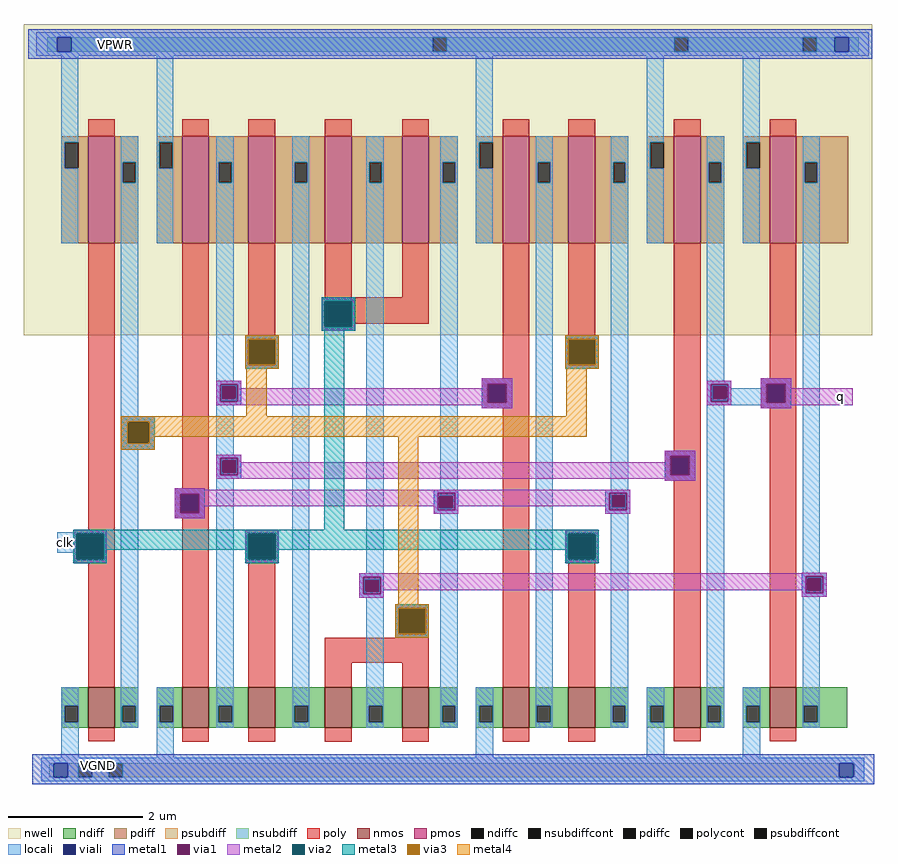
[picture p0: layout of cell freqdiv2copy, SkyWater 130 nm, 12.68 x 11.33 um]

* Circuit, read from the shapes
.subckt freqdiv2copy VGND clk q VPWR
XM1 n1 clk VGND VGND sky130_fd_pr__nfet_01v8 w=0.6 l=0.4
XM2 n2 n3 VGND VGND sky130_fd_pr__nfet_01v8 w=0.6 l=0.4
XM3 n4 clk n2 VGND sky130_fd_pr__nfet_01v8 w=0.6 l=0.4
XM4 n5 n1 n4 VGND sky130_fd_pr__nfet_01v8 w=0.6 l=0.4
XM5 n3 n1 n5 VGND sky130_fd_pr__nfet_01v8 w=0.6 l=0.4
XM6 n6 n2 VGND VGND sky130_fd_pr__nfet_01v8 w=0.6 l=0.4
XM7 n3 clk n6 VGND sky130_fd_pr__nfet_01v8 w=0.6 l=0.4
XM8 q n2 VGND VGND sky130_fd_pr__nfet_01v8 w=0.6 l=0.4
XM9 n5 q VGND VGND sky130_fd_pr__nfet_01v8 w=0.6 l=0.4
XM10 n1 clk VPWR VPWR sky130_fd_pr__pfet_01v8 w=1.6 l=0.4
XM11 n2 n3 VPWR VPWR sky130_fd_pr__pfet_01v8 w=1.6 l=0.4
XM12 n4 n1 n2 VPWR sky130_fd_pr__pfet_01v8 w=1.6 l=0.4
XM13 n5 clk n4 VPWR sky130_fd_pr__pfet_01v8 w=1.6 l=0.4
XM14 n3 clk n5 VPWR sky130_fd_pr__pfet_01v8 w=1.6 l=0.4
XM15 n6 n2 VPWR VPWR sky130_fd_pr__pfet_01v8 w=1.6 l=0.4
XM16 n3 n1 n6 VPWR sky130_fd_pr__pfet_01v8 w=1.6 l=0.4
XM17 q n2 VPWR VPWR sky130_fd_pr__pfet_01v8 w=1.6 l=0.4
XM18 n5 q VPWR VPWR sky130_fd_pr__pfet_01v8 w=1.6 l=0.4
.ends

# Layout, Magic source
magic
tech sky130A
<< nwell >>
rect -75 -85 1190 379
<< nmos >>
rect 21 -670 61 -610
rect 161 -670 201 -610
rect 260 -670 300 -610
rect 374 -670 414 -610
rect 489 -670 529 -610
rect 639 -670 679 -610
rect 737 -670 777 -610
rect 894 -670 934 -610
rect 1037 -670 1077 -610
<< pmos >>
rect 21 52 61 212
rect 161 52 201 212
rect 260 52 300 212
rect 374 52 414 212
rect 489 52 529 212
rect 639 52 679 212
rect 737 52 777 212
rect 894 52 934 212
rect 1037 52 1077 212
<< ndiff >>
rect -19 -637 21 -610
rect -19 -662 -14 -637
rect 6 -662 21 -637
rect -19 -670 21 -662
rect 61 -637 96 -610
rect 61 -662 72 -637
rect 92 -662 96 -637
rect 61 -670 96 -662
rect 123 -637 161 -610
rect 123 -662 128 -637
rect 148 -662 161 -637
rect 123 -670 161 -662
rect 201 -637 260 -610
rect 201 -662 215 -637
rect 236 -662 260 -637
rect 201 -670 260 -662
rect 300 -637 374 -610
rect 300 -662 328 -637
rect 349 -662 374 -637
rect 300 -670 374 -662
rect 414 -637 489 -610
rect 414 -662 439 -637
rect 460 -662 489 -637
rect 414 -670 489 -662
rect 529 -637 572 -610
rect 529 -662 549 -637
rect 568 -662 572 -637
rect 529 -670 572 -662
rect 599 -637 639 -610
rect 599 -662 604 -637
rect 624 -662 639 -637
rect 599 -670 639 -662
rect 679 -637 737 -610
rect 679 -662 690 -637
rect 711 -662 737 -637
rect 679 -670 737 -662
rect 777 -637 826 -610
rect 777 -662 803 -637
rect 822 -662 826 -637
rect 777 -670 826 -662
rect 854 -637 894 -610
rect 854 -662 859 -637
rect 879 -662 894 -637
rect 854 -670 894 -662
rect 934 -637 969 -610
rect 934 -662 945 -637
rect 964 -662 969 -637
rect 934 -670 969 -662
rect 997 -637 1037 -610
rect 997 -662 1002 -637
rect 1022 -662 1037 -637
rect 997 -670 1037 -662
rect 1077 -637 1153 -610
rect 1077 -662 1088 -637
rect 1109 -662 1153 -637
rect 1077 -670 1153 -662
<< pdiff >>
rect -19 203 21 212
rect -19 164 -14 203
rect 6 164 21 203
rect -19 52 21 164
rect 61 173 96 212
rect 61 142 73 173
rect 92 142 96 173
rect 61 52 96 142
rect 123 203 161 212
rect 123 164 127 203
rect 147 164 161 203
rect 123 52 161 164
rect 201 173 260 212
rect 201 142 216 173
rect 235 142 260 173
rect 201 52 260 142
rect 300 173 374 212
rect 300 142 329 173
rect 348 142 374 173
rect 300 52 374 142
rect 414 173 489 212
rect 414 142 440 173
rect 459 142 489 173
rect 414 52 489 142
rect 529 173 572 212
rect 529 142 550 173
rect 568 142 572 173
rect 529 52 572 142
rect 599 203 639 212
rect 599 164 604 203
rect 624 164 639 203
rect 599 52 639 164
rect 679 173 737 212
rect 679 142 691 173
rect 710 142 737 173
rect 679 52 737 142
rect 777 173 826 212
rect 777 142 804 173
rect 822 142 826 173
rect 777 52 826 142
rect 854 203 894 212
rect 854 164 859 203
rect 879 164 894 203
rect 854 52 894 164
rect 934 173 969 212
rect 934 142 946 173
rect 965 142 969 173
rect 934 52 969 142
rect 997 203 1037 212
rect 997 164 1002 203
rect 1022 164 1037 203
rect 997 52 1037 164
rect 1077 173 1154 212
rect 1077 142 1089 173
rect 1108 142 1154 173
rect 1077 52 1154 142
<< ndiffc >>
rect -14 -662 6 -637
rect 72 -662 92 -637
rect 128 -662 148 -637
rect 215 -662 236 -637
rect 328 -662 349 -637
rect 439 -662 460 -637
rect 549 -662 568 -637
rect 604 -662 624 -637
rect 690 -662 711 -637
rect 803 -662 822 -637
rect 859 -662 879 -637
rect 945 -662 964 -637
rect 1002 -662 1022 -637
rect 1088 -662 1109 -637
<< pdiffc >>
rect -14 164 6 203
rect 73 142 92 173
rect 127 164 147 203
rect 216 142 235 173
rect 329 142 348 173
rect 440 142 459 173
rect 550 142 568 173
rect 604 164 624 203
rect 691 142 710 173
rect 804 142 822 173
rect 859 164 879 203
rect 946 142 965 173
rect 1002 164 1022 203
rect 1089 142 1108 173
<< psubdiff >>
rect -37 -744 6 -723
rect 27 -744 52 -723
rect 73 -744 1164 -723
<< nsubdiff >>
rect -40 338 535 359
rect 556 338 895 359
rect 916 338 1086 359
rect 1107 338 1170 359
<< psubdiffcont >>
rect 6 -744 27 -723
rect 52 -744 73 -723
<< nsubdiffcont >>
rect 535 338 556 359
rect 895 338 916 359
rect 1086 338 1107 359
<< poly >>
rect 21 212 61 237
rect 161 212 201 237
rect 260 212 300 237
rect 374 212 414 237
rect 489 212 529 237
rect 639 212 679 237
rect 737 212 777 237
rect 894 212 934 237
rect 1037 212 1077 237
rect 21 -375 61 52
rect 161 -313 201 52
rect 260 -85 300 52
rect 374 -28 414 52
rect 489 -28 529 52
rect 369 -38 529 -28
rect 369 -68 377 -38
rect 411 -68 529 -38
rect 369 -78 419 -68
rect 255 -95 305 -85
rect 255 -125 263 -95
rect 297 -125 305 -95
rect 255 -135 305 -125
rect 639 -149 679 52
rect 737 -85 777 52
rect 732 -95 782 -85
rect 732 -125 740 -95
rect 774 -125 782 -95
rect 732 -135 782 -125
rect 608 -159 679 -149
rect 608 -184 618 -159
rect 643 -184 679 -159
rect 608 -194 679 -184
rect 150 -323 201 -313
rect 150 -348 160 -323
rect 185 -348 201 -323
rect 150 -358 201 -348
rect -1 -385 61 -375
rect -1 -415 7 -385
rect 41 -415 61 -385
rect -1 -425 61 -415
rect 21 -610 61 -425
rect 161 -610 201 -358
rect 255 -385 305 -375
rect 255 -415 263 -385
rect 297 -415 305 -385
rect 255 -425 305 -415
rect 260 -610 300 -425
rect 479 -496 529 -486
rect 479 -526 487 -496
rect 521 -526 529 -496
rect 479 -536 529 -526
rect 374 -573 529 -536
rect 374 -610 414 -573
rect 489 -610 529 -573
rect 639 -610 679 -194
rect 894 -257 934 52
rect 1037 -149 1077 52
rect 1024 -159 1077 -149
rect 1024 -184 1034 -159
rect 1059 -184 1077 -159
rect 1024 -194 1077 -184
rect 881 -267 934 -257
rect 881 -292 891 -267
rect 916 -292 934 -267
rect 881 -302 934 -292
rect 732 -385 782 -375
rect 732 -415 740 -385
rect 774 -415 782 -385
rect 732 -425 782 -415
rect 737 -610 777 -425
rect 894 -610 934 -302
rect 1037 -610 1077 -194
rect 21 -690 61 -670
rect 161 -691 201 -670
rect 260 -691 300 -670
rect 374 -691 414 -670
rect 489 -691 529 -670
rect 639 -691 679 -670
rect 737 -691 777 -670
rect 894 -690 934 -670
rect 1037 -690 1077 -670
<< polycont >>
rect 377 -68 411 -38
rect 263 -125 297 -95
rect 740 -125 774 -95
rect 618 -184 643 -159
rect 160 -348 185 -323
rect 7 -415 41 -385
rect 263 -415 297 -385
rect 487 -526 521 -496
rect 1034 -184 1059 -159
rect 891 -292 916 -267
rect 740 -415 774 -385
<< locali >>
rect -56 359 1185 367
rect -56 338 -25 359
rect -4 338 535 359
rect 556 338 895 359
rect 916 338 1086 359
rect 1107 338 1134 359
rect 1155 338 1185 359
rect -56 332 1185 338
rect -19 203 6 332
rect -19 164 -14 203
rect -19 52 6 164
rect 70 173 96 212
rect 70 142 73 173
rect 92 142 96 173
rect 70 -206 96 142
rect 123 203 148 332
rect 123 164 127 203
rect 147 164 148 203
rect 123 52 148 164
rect 212 173 238 212
rect 212 142 216 173
rect 235 142 238 173
rect 212 -153 238 142
rect 325 173 351 212
rect 325 142 329 173
rect 348 142 351 173
rect 255 -95 305 -85
rect 255 -125 263 -95
rect 297 -125 305 -95
rect 255 -135 305 -125
rect 212 -162 249 -153
rect 212 -179 221 -162
rect 240 -179 249 -162
rect 212 -189 249 -179
rect 70 -219 120 -206
rect 70 -239 85 -219
rect 105 -239 120 -219
rect 70 -256 120 -239
rect -1 -379 49 -375
rect -25 -385 49 -379
rect -25 -409 7 -385
rect -1 -415 7 -409
rect 41 -415 49 -385
rect -1 -425 49 -415
rect -19 -637 7 -610
rect -19 -662 -14 -637
rect 6 -662 7 -637
rect -19 -715 7 -662
rect 70 -637 96 -256
rect 212 -263 238 -189
rect 212 -272 249 -263
rect 212 -289 222 -272
rect 241 -289 249 -272
rect 212 -299 249 -289
rect 150 -323 195 -313
rect 150 -348 160 -323
rect 185 -348 195 -323
rect 150 -358 195 -348
rect 70 -662 72 -637
rect 92 -662 96 -637
rect 70 -670 96 -662
rect 123 -637 149 -610
rect 123 -662 128 -637
rect 148 -662 149 -637
rect 123 -715 149 -662
rect 212 -637 238 -299
rect 255 -385 305 -375
rect 255 -415 263 -385
rect 297 -415 305 -385
rect 255 -425 305 -415
rect 212 -662 215 -637
rect 236 -662 238 -637
rect 212 -670 238 -662
rect 325 -637 351 142
rect 436 173 462 212
rect 436 142 440 173
rect 459 142 462 173
rect 369 -38 419 -28
rect 369 -68 377 -38
rect 411 -68 419 -38
rect 369 -78 419 -68
rect 436 -440 462 142
rect 546 173 572 212
rect 546 142 550 173
rect 568 142 572 173
rect 546 -315 572 142
rect 599 203 624 332
rect 599 164 604 203
rect 599 52 624 164
rect 688 173 714 212
rect 688 142 691 173
rect 710 142 714 173
rect 608 -159 653 -149
rect 608 -184 618 -159
rect 643 -184 653 -159
rect 608 -194 653 -184
rect 536 -325 573 -315
rect 536 -342 545 -325
rect 564 -342 573 -325
rect 536 -351 573 -342
rect 425 -450 462 -440
rect 425 -467 435 -450
rect 454 -467 462 -450
rect 425 -476 462 -467
rect 325 -662 328 -637
rect 349 -662 351 -637
rect 325 -670 351 -662
rect 436 -637 462 -476
rect 479 -496 529 -486
rect 479 -526 487 -496
rect 521 -526 529 -496
rect 479 -536 529 -526
rect 436 -662 439 -637
rect 460 -662 462 -637
rect 436 -670 462 -662
rect 546 -637 572 -351
rect 546 -662 549 -637
rect 568 -662 572 -637
rect 546 -670 572 -662
rect 599 -637 625 -610
rect 599 -662 604 -637
rect 624 -662 625 -637
rect 599 -715 625 -662
rect 688 -637 714 142
rect 800 173 826 212
rect 800 142 804 173
rect 822 142 826 173
rect 732 -95 782 -85
rect 732 -125 740 -95
rect 774 -125 782 -95
rect 732 -135 782 -125
rect 800 -315 826 142
rect 854 203 879 332
rect 854 164 859 203
rect 854 52 879 164
rect 943 173 969 212
rect 943 142 946 173
rect 965 142 969 173
rect 943 -153 969 142
rect 997 203 1022 332
rect 997 164 1002 203
rect 997 52 1022 164
rect 1086 173 1112 212
rect 1086 142 1089 173
rect 1108 142 1112 173
rect 943 -162 980 -153
rect 943 -179 953 -162
rect 972 -164 980 -162
rect 1024 -159 1069 -149
rect 1024 -164 1034 -159
rect 972 -179 1034 -164
rect 943 -184 1034 -179
rect 1059 -184 1069 -159
rect 943 -189 1069 -184
rect 881 -267 926 -257
rect 881 -292 891 -267
rect 916 -292 926 -267
rect 881 -302 926 -292
rect 792 -324 829 -315
rect 792 -341 802 -324
rect 821 -341 829 -324
rect 792 -351 829 -341
rect 732 -385 782 -375
rect 732 -415 740 -385
rect 774 -415 782 -385
rect 732 -425 782 -415
rect 688 -662 690 -637
rect 711 -662 714 -637
rect 688 -670 714 -662
rect 800 -637 826 -351
rect 800 -662 803 -637
rect 822 -662 826 -637
rect 800 -670 826 -662
rect 854 -637 880 -610
rect 854 -662 859 -637
rect 879 -662 880 -637
rect 854 -715 880 -662
rect 943 -637 969 -189
rect 1024 -194 1069 -189
rect 1086 -439 1112 142
rect 1085 -448 1122 -439
rect 1085 -465 1094 -448
rect 1113 -465 1122 -448
rect 1085 -475 1122 -465
rect 943 -662 945 -637
rect 964 -662 969 -637
rect 943 -670 969 -662
rect 997 -637 1023 -610
rect 997 -662 1002 -637
rect 1022 -662 1023 -637
rect 997 -715 1023 -662
rect 1086 -637 1112 -475
rect 1086 -662 1088 -637
rect 1109 -662 1112 -637
rect 1086 -670 1112 -662
rect -49 -723 1178 -715
rect -49 -744 -30 -723
rect -9 -744 6 -723
rect 27 -744 52 -723
rect 73 -744 1141 -723
rect 1162 -744 1178 -723
rect -49 -750 1178 -744
<< viali >>
rect -25 338 -4 359
rect 1134 338 1155 359
rect 263 -125 297 -95
rect 221 -179 240 -162
rect 85 -239 105 -219
rect 7 -415 41 -385
rect 222 -289 241 -272
rect 160 -348 185 -323
rect 263 -415 297 -385
rect 377 -68 411 -38
rect 618 -184 643 -159
rect 545 -342 564 -325
rect 435 -467 454 -450
rect 487 -526 521 -496
rect 740 -125 774 -95
rect 953 -179 972 -162
rect 1034 -184 1059 -159
rect 891 -292 916 -267
rect 802 -341 821 -324
rect 740 -415 774 -385
rect 1094 -465 1113 -448
rect -30 -744 -9 -723
rect 1141 -744 1162 -723
<< metal1 >>
rect -68 359 1190 371
rect -68 338 -25 359
rect -4 338 1134 359
rect 1155 338 1190 359
rect -68 327 1190 338
rect 369 -34 419 -28
rect 369 -72 374 -34
rect 414 -72 419 -34
rect 369 -78 419 -72
rect 255 -91 305 -85
rect 255 -129 260 -91
rect 300 -129 305 -91
rect 255 -135 305 -129
rect 732 -91 782 -85
rect 732 -129 737 -91
rect 777 -129 782 -91
rect 732 -135 782 -129
rect 212 -158 249 -153
rect 212 -184 218 -158
rect 244 -184 249 -158
rect 212 -189 249 -184
rect 608 -157 653 -149
rect 608 -186 616 -157
rect 645 -186 653 -157
rect 608 -194 653 -186
rect 943 -158 980 -153
rect 943 -184 949 -158
rect 975 -184 980 -158
rect 943 -189 980 -184
rect 1024 -157 1069 -149
rect 1024 -186 1032 -157
rect 1061 -186 1069 -157
rect 1024 -194 1069 -186
rect 70 -214 120 -206
rect 70 -246 80 -214
rect 112 -246 120 -214
rect 70 -256 120 -246
rect 212 -268 249 -263
rect 212 -294 218 -268
rect 244 -294 249 -268
rect 212 -299 249 -294
rect 881 -265 926 -257
rect 881 -294 889 -265
rect 918 -294 926 -265
rect 881 -302 926 -294
rect 150 -321 195 -313
rect 150 -350 158 -321
rect 187 -350 195 -321
rect 150 -358 195 -350
rect 536 -320 573 -315
rect 536 -346 542 -320
rect 568 -346 573 -320
rect 536 -351 573 -346
rect 792 -320 829 -315
rect 792 -346 798 -320
rect 824 -346 829 -320
rect 792 -351 829 -346
rect -1 -381 49 -375
rect -1 -419 4 -381
rect 44 -419 49 -381
rect -1 -425 49 -419
rect 255 -381 305 -375
rect 255 -419 260 -381
rect 300 -419 305 -381
rect 255 -425 305 -419
rect 732 -381 782 -375
rect 732 -419 737 -381
rect 777 -419 782 -381
rect 732 -425 782 -419
rect 425 -445 462 -440
rect 425 -471 431 -445
rect 457 -471 462 -445
rect 425 -476 462 -471
rect 1085 -444 1122 -439
rect 1085 -470 1091 -444
rect 1117 -470 1122 -444
rect 1085 -475 1122 -470
rect 479 -492 529 -486
rect 479 -530 484 -492
rect 524 -530 529 -492
rect 479 -536 529 -530
rect -62 -723 1193 -710
rect -62 -744 -30 -723
rect -9 -744 1141 -723
rect 1162 -744 1193 -723
rect -62 -754 1193 -744
<< via1 >>
rect 374 -38 414 -34
rect 374 -68 377 -38
rect 377 -68 411 -38
rect 411 -68 414 -38
rect 374 -72 414 -68
rect 260 -95 300 -91
rect 260 -125 263 -95
rect 263 -125 297 -95
rect 297 -125 300 -95
rect 260 -129 300 -125
rect 737 -95 777 -91
rect 737 -125 740 -95
rect 740 -125 774 -95
rect 774 -125 777 -95
rect 737 -129 777 -125
rect 218 -162 244 -158
rect 218 -179 221 -162
rect 221 -179 240 -162
rect 240 -179 244 -162
rect 218 -184 244 -179
rect 616 -159 645 -157
rect 616 -184 618 -159
rect 618 -184 643 -159
rect 643 -184 645 -159
rect 616 -186 645 -184
rect 949 -162 975 -158
rect 949 -179 953 -162
rect 953 -179 972 -162
rect 972 -179 975 -162
rect 949 -184 975 -179
rect 1032 -159 1061 -157
rect 1032 -184 1034 -159
rect 1034 -184 1059 -159
rect 1059 -184 1061 -159
rect 1032 -186 1061 -184
rect 80 -219 112 -214
rect 80 -239 85 -219
rect 85 -239 105 -219
rect 105 -239 112 -219
rect 80 -246 112 -239
rect 218 -272 244 -268
rect 218 -289 222 -272
rect 222 -289 241 -272
rect 241 -289 244 -272
rect 218 -294 244 -289
rect 889 -267 918 -265
rect 889 -292 891 -267
rect 891 -292 916 -267
rect 916 -292 918 -267
rect 889 -294 918 -292
rect 158 -323 187 -321
rect 158 -348 160 -323
rect 160 -348 185 -323
rect 185 -348 187 -323
rect 158 -350 187 -348
rect 542 -325 568 -320
rect 542 -342 545 -325
rect 545 -342 564 -325
rect 564 -342 568 -325
rect 542 -346 568 -342
rect 798 -324 824 -320
rect 798 -341 802 -324
rect 802 -341 821 -324
rect 821 -341 824 -324
rect 798 -346 824 -341
rect 4 -385 44 -381
rect 4 -415 7 -385
rect 7 -415 41 -385
rect 41 -415 44 -385
rect 4 -419 44 -415
rect 260 -385 300 -381
rect 260 -415 263 -385
rect 263 -415 297 -385
rect 297 -415 300 -385
rect 260 -419 300 -415
rect 737 -385 777 -381
rect 737 -415 740 -385
rect 740 -415 774 -385
rect 774 -415 777 -385
rect 737 -419 777 -415
rect 431 -450 457 -445
rect 431 -467 435 -450
rect 435 -467 454 -450
rect 454 -467 457 -450
rect 431 -471 457 -467
rect 1091 -448 1117 -444
rect 1091 -465 1094 -448
rect 1094 -465 1113 -448
rect 1113 -465 1117 -448
rect 1091 -470 1117 -465
rect 484 -496 524 -492
rect 484 -526 487 -496
rect 487 -526 521 -496
rect 521 -526 524 -496
rect 484 -530 524 -526
<< metal2 >>
rect 369 -34 419 -28
rect 369 -72 374 -34
rect 414 -72 419 -34
rect 369 -78 419 -72
rect 255 -91 305 -85
rect 255 -129 260 -91
rect 300 -129 305 -91
rect 255 -135 305 -129
rect 732 -91 782 -85
rect 732 -129 737 -91
rect 777 -129 782 -91
rect 732 -135 782 -129
rect 212 -158 249 -153
rect 212 -184 218 -158
rect 244 -164 249 -158
rect 608 -157 653 -149
rect 608 -164 616 -157
rect 244 -184 616 -164
rect 212 -186 616 -184
rect 645 -186 653 -157
rect 212 -189 653 -186
rect 943 -158 980 -153
rect 943 -184 949 -158
rect 975 -184 980 -158
rect 943 -189 980 -184
rect 1024 -157 1069 -149
rect 1024 -186 1032 -157
rect 1061 -164 1069 -157
rect 1061 -186 1161 -164
rect 1024 -189 1161 -186
rect 608 -194 653 -189
rect 1024 -194 1069 -189
rect 70 -214 120 -206
rect 70 -246 80 -214
rect 112 -246 120 -214
rect 70 -256 120 -246
rect 212 -268 249 -263
rect 212 -294 218 -268
rect 244 -274 249 -268
rect 881 -265 926 -257
rect 881 -274 889 -265
rect 244 -294 889 -274
rect 918 -294 926 -265
rect 212 -299 926 -294
rect 881 -302 926 -299
rect 150 -315 195 -313
rect 150 -320 829 -315
rect 150 -321 542 -320
rect 150 -350 158 -321
rect 187 -340 542 -321
rect 187 -350 195 -340
rect 150 -358 195 -350
rect 536 -346 542 -340
rect 568 -340 798 -320
rect 568 -346 573 -340
rect 536 -351 573 -346
rect 792 -346 798 -340
rect 824 -346 829 -320
rect 792 -351 829 -346
rect -1 -381 49 -375
rect -1 -419 4 -381
rect 44 -419 49 -381
rect -1 -425 49 -419
rect 255 -381 305 -375
rect 255 -419 260 -381
rect 300 -419 305 -381
rect 255 -425 305 -419
rect 732 -381 782 -375
rect 732 -419 737 -381
rect 777 -419 782 -381
rect 732 -425 782 -419
rect 1085 -440 1122 -439
rect 425 -444 1122 -440
rect 425 -445 1091 -444
rect 425 -471 431 -445
rect 457 -465 1091 -445
rect 457 -471 462 -465
rect 425 -476 462 -471
rect 1085 -470 1091 -465
rect 1117 -470 1122 -444
rect 1085 -475 1122 -470
rect 479 -492 529 -486
rect 479 -530 484 -492
rect 524 -530 529 -492
rect 479 -536 529 -530
<< via2 >>
rect 374 -72 414 -34
rect 260 -129 300 -91
rect 737 -129 777 -91
rect 80 -246 112 -214
rect 4 -419 44 -381
rect 260 -419 300 -381
rect 737 -419 777 -381
rect 484 -530 524 -492
<< metal3 >>
rect 369 -34 419 -28
rect 369 -72 374 -34
rect 414 -72 419 -34
rect 369 -78 419 -72
rect 255 -91 305 -85
rect 255 -129 260 -91
rect 300 -129 305 -91
rect 255 -135 305 -129
rect 70 -214 120 -206
rect 70 -246 80 -214
rect 112 -246 120 -214
rect 70 -256 120 -246
rect 373 -375 403 -78
rect 732 -91 782 -85
rect 732 -129 737 -91
rect 777 -129 782 -91
rect 732 -135 782 -129
rect -1 -381 782 -375
rect -1 -419 4 -381
rect 44 -405 260 -381
rect 44 -419 49 -405
rect -1 -425 49 -419
rect 255 -419 260 -405
rect 300 -405 737 -381
rect 300 -419 305 -405
rect 255 -425 305 -419
rect 732 -419 737 -405
rect 777 -419 782 -381
rect 732 -425 782 -419
rect 479 -492 529 -486
rect 479 -530 484 -492
rect 524 -530 529 -492
rect 479 -536 529 -530
<< via3 >>
rect 260 -129 300 -91
rect 80 -246 112 -214
rect 737 -129 777 -91
rect 484 -530 524 -492
<< metal4 >>
rect 255 -91 305 -85
rect 255 -129 260 -91
rect 300 -129 305 -91
rect 255 -135 305 -129
rect 732 -91 782 -85
rect 732 -129 737 -91
rect 777 -129 782 -91
rect 732 -135 782 -129
rect 257 -206 287 -135
rect 734 -206 764 -135
rect 70 -214 764 -206
rect 70 -246 80 -214
rect 112 -236 764 -214
rect 112 -246 120 -236
rect 70 -256 120 -246
rect 483 -486 513 -236
rect 479 -492 529 -486
rect 479 -530 484 -492
rect 524 -530 529 -492
rect 479 -536 529 -530
<< labels >>
flabel locali s -25 -409 -1 -379 0 FreeSans 120 0 0 0 clk
port 7 nsew
flabel metal2 s 1128 -188 1156 -165 0 FreeSans 120 0 0 0 q
port 8 nsew
flabel metal1 s 8 -735 65 -719 0 FreeSans 120 0 0 0 VGND
port 6 nsew
flabel metal1 s 30 338 95 359 0 FreeSans 120 0 0 0 VPWR
port 11 nsew
<< end >>
